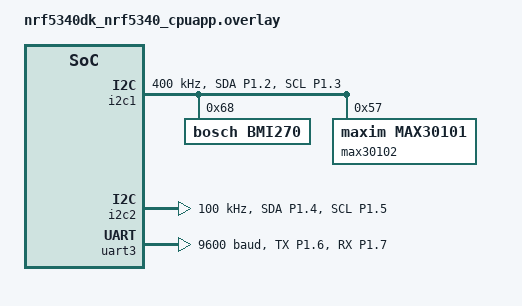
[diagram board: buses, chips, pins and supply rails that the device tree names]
/*
 * Bring-up overlay for nRF5340 DK (app core). Sensors on breakouts, powered
 * from the bench supply (common GND with the DK).
 *
 * nRF5340 serial instances 0-3 are shared between UARTE/SPIM/TWIM, so each
 * instance can be only ONE of them. uart0 stays as the DK console (VCOM).
 *   instance 0 -> uart0  (console, stock)
 *   instance 1 -> i2c1   (IMU + PPG)
 *   instance 2 -> i2c2   (touch, placeholder)
 *   instance 3 -> uart3  (GPS)
 *   spi4       -> display (placeholder, disabled)
 * Pin numbers are placeholders: confirm against the DK header silkscreen and
 * check build/zephyr/zephyr.dts for conflicts with stock DK nodes.
 */

&pinctrl {
	i2c1_default: i2c1_default {
		group1 {
			psels = <NRF_PSEL(TWIM_SDA, 1, 2)>,
				<NRF_PSEL(TWIM_SCL, 1, 3)>;
		};
	};
	i2c1_sleep: i2c1_sleep {
		group1 {
			psels = <NRF_PSEL(TWIM_SDA, 1, 2)>,
				<NRF_PSEL(TWIM_SCL, 1, 3)>;
			low-power-enable;
		};
	};
	i2c2_default: i2c2_default {
		group1 {
			psels = <NRF_PSEL(TWIM_SDA, 1, 4)>,
				<NRF_PSEL(TWIM_SCL, 1, 5)>;
		};
	};
	i2c2_sleep: i2c2_sleep {
		group1 {
			psels = <NRF_PSEL(TWIM_SDA, 1, 4)>,
				<NRF_PSEL(TWIM_SCL, 1, 5)>;
			low-power-enable;
		};
	};
	uart3_default: uart3_default {
		group1 {
			psels = <NRF_PSEL(UART_TX, 1, 6)>;
		};
		group2 {
			psels = <NRF_PSEL(UART_RX, 1, 7)>;
			bias-pull-up;
		};
	};
	uart3_sleep: uart3_sleep {
		group1 {
			psels = <NRF_PSEL(UART_TX, 1, 6)>,
				<NRF_PSEL(UART_RX, 1, 7)>;
			low-power-enable;
		};
	};
};

/* IMU + PPG bus */
&i2c1 {
	status = "okay";
	clock-frequency = <I2C_BITRATE_FAST>;
	pinctrl-0 = <&i2c1_default>;
	pinctrl-1 = <&i2c1_sleep>;
	pinctrl-names = "default", "sleep";

	bmi270: bmi270@68 {
		compatible = "bosch,bmi270";
		reg = <0x68>;
	};

	/* MAX30102 uses the MAX30101 driver; led slots 1=red, 2=IR,
	 * and 0 disables the unused third slot. */
	max30102: max30102@57 {
		compatible = "maxim,max30101";
		reg = <0x57>;
		acq-mode = "multi-led";
	};
};

/* Touch bus: TMA525B has no upstream Zephyr driver, so no child node yet.
 * Enabled only so `i2c scan i2c2` works if you wire the breakout. */
&i2c2 {
	status = "okay";
	clock-frequency = <I2C_BITRATE_STANDARD>;
	pinctrl-0 = <&i2c2_default>;
	pinctrl-1 = <&i2c2_sleep>;
	pinctrl-names = "default", "sleep";
};

/* GPS NMEA, SAM-M10Q default 9600 baud */
&uart3 {
	status = "okay";
	current-speed = <9600>;
	pinctrl-0 = <&uart3_default>;
	pinctrl-1 = <&uart3_sleep>;
	pinctrl-names = "default", "sleep";
};

/* Display (SH8601A): no upstream driver, bring up after the buses work.
 * Place the node under &spi4 once you write the binding + driver. */
&spi4 {
	status = "disabled";
};
